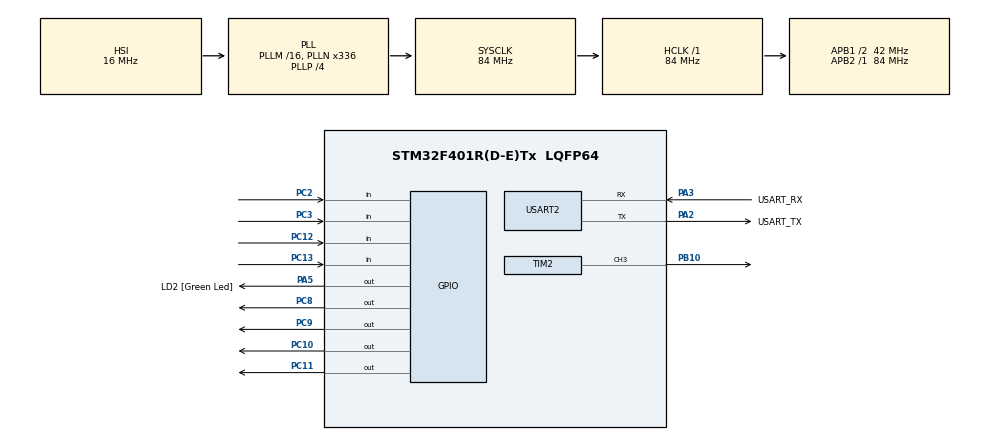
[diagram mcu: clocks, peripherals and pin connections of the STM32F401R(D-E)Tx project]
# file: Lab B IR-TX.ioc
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Mcu.Family=STM32F4
Mcu.Name=STM32F401R(D-E)Tx
Mcu.Package=LQFP64
NVIC.PriorityGroup=NVIC_PRIORITYGROUP_0
NVIC.TIM1_UP_TIM10_IRQn=true\:0\:0\:false\:false\:true\:true\:true\:true
NVIC.TIM2_IRQn=true\:0\:0\:false\:false\:true\:true\:true\:true
NVIC.TIM3_IRQn=true\:0\:0\:false\:false\:true\:true\:true\:true
PA13.GPIO_Label=TMS
PA13.Mode=Serial_Wire
PA13.Signal=SYS_JTMS-SWDIO
PA14.GPIO_Label=TCK
PA14.Mode=Serial_Wire
PA14.Signal=SYS_JTCK-SWCLK
PA2.GPIO_Label=USART_TX
PA2.GPIO_Mode=GPIO_MODE_AF_PP
PA2.GPIO_PuPd=GPIO_NOPULL
PA2.GPIO_Speed=GPIO_SPEED_FREQ_LOW
PA2.Mode=Asynchronous
PA2.Signal=USART2_TX
PA3.GPIO_Label=USART_RX
PA3.GPIO_Mode=GPIO_MODE_AF_PP
PA3.GPIO_PuPd=GPIO_NOPULL
PA3.GPIO_Speed=GPIO_SPEED_FREQ_LOW
PA3.Mode=Asynchronous
PA3.Signal=USART2_RX
PA5.GPIO_Label=LD2 [Green Led]
PA5.GPIO_Mode=GPIO_MODE_OUTPUT_PP
PA5.GPIO_PuPd=GPIO_NOPULL
PA5.GPIO_Speed=GPIO_SPEED_FREQ_LOW
PA5.Signal=GPIO_Output
PB10.Signal=S_TIM2_CH3
PB3.GPIO_Label=SWO
PB3.Signal=SYS_JTDO-SWO
PC10.Signal=GPIO_Output
PC11.Signal=GPIO_Output
PC12.Signal=GPIO_Input
PC13-ANTI_TAMP.Signal=GPIO_Input
PC14-OSC32_IN.Mode=LSE-External-Oscillator
PC14-OSC32_IN.Signal=RCC_OSC32_IN
PC15-OSC32_OUT.Mode=LSE-External-Oscillator
PC15-OSC32_OUT.Signal=RCC_OSC32_OUT
PC2.Signal=GPIO_Input
PC3.Signal=GPIO_Input
PC8.Signal=GPIO_Output
PC9.Signal=GPIO_Output
PH0\ -\ OSC_IN.Mode=HSE-External-Clock-Source
PH0\ -\ OSC_IN.Signal=RCC_OSC_IN
PH1\ -\ OSC_OUT.Mode=HSE-External-Clock-Source
PH1\ -\ OSC_OUT.Signal=RCC_OSC_OUT
ProjectManager.HeapSize=0x200
ProjectManager.StackSize=0x400
ProjectManager.TargetToolchain=STM32CubeIDE
RCC.48MHZClocksFreq_Value=48000000
RCC.AHBFreq_Value=84000000
RCC.APB1CLKDivider=RCC_HCLK_DIV2
RCC.APB1Freq_Value=42000000
RCC.APB1TimFreq_Value=84000000
RCC.APB2Freq_Value=84000000
RCC.APB2TimFreq_Value=84000000
RCC.CortexFreq_Value=84000000
RCC.HCLKFreq_Value=84000000
RCC.HSE_VALUE=8000000
RCC.HSI_VALUE=16000000
RCC.PLLN=336
RCC.PLLP=RCC_PLLP_DIV4
RCC.PLLQ=7
RCC.SYSCLKFreq_VALUE=84000000
RCC.SYSCLKSource=RCC_SYSCLKSOURCE_PLLCLK
RCC.VCOOutputFreq_Value=336000000
SH.S_TIM2_CH3.0=TIM2_CH3,PWM Generation3 CH3
TIM1.Period=499
TIM1.Prescaler=69
TIM2.Channel-PWM\ Generation3\ CH3=TIM_CHANNEL_3
TIM2.Period=60
TIM2.Prescaler=35
TIM2.Pulse-PWM\ Generation3\ CH3=30
TIM3.Period=100-1
TIM3.Prescaler=8400-1
USART2.VirtualMode=VM_ASYNC
VP_TIM1_VS_ClockSourceINT.Mode=Internal
VP_TIM2_VS_ClockSourceINT.Mode=Internal
VP_TIM3_VS_ClockSourceINT.Mode=Internal
board=NUCLEO-F401RE

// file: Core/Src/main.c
/* USER CODE BEGIN Header */
/**
 ******************************************************************************
 * @file           : main.c
 * @brief          : Main program body
 ******************************************************************************
 * @attention
 *
 * Copyright (c) 2023 STMicroelectronics.
 * All rights reserved.
 *
 * This software is licensed under terms that can be found in the LICENSE file
 * in the root directory of this software component.
 * If no LICENSE file comes with this software, it is provided AS-IS.
 *
 ******************************************************************************
 */
/* USER CODE END Header */
#include "main.h"

/* USER CODE BEGIN Includes */
#include <stdio.h>
/* USER CODE END Includes */

/* USER CODE BEGIN PD */
#define QUEUE_SIZE 100
#define N_ROWS_K 4
#define N_COLS_K 4
/* USER CODE END PD */

TIM_HandleTypeDef htim1;
TIM_HandleTypeDef htim2;
TIM_HandleTypeDef htim3;

UART_HandleTypeDef huart2;

/* USER CODE BEGIN PV */
struct Queue {
	uint8_t items[QUEUE_SIZE];
	int front;
	int rear;
	int size;
} tx_queue;
int transmitting = 0;

const uint16_t k_input[] = { GPIO_PIN_3, GPIO_PIN_2, GPIO_PIN_13, GPIO_PIN_12 };
const uint16_t k_output[] = { GPIO_PIN_8, GPIO_PIN_9, GPIO_PIN_10, GPIO_PIN_11 };
/* USER CODE END PV */

void SystemClock_Config(void);
static void MX_GPIO_Init(void);
static void MX_USART2_UART_Init(void);
static void MX_TIM2_Init(void);
static void MX_TIM3_Init(void);
static void MX_TIM1_Init(void);
/* USER CODE BEGIN PFP */
void init_queue(struct Queue* q);
int isFull(struct Queue *queue);
int isEmpty(struct Queue *queue);
int enqueue(struct Queue *queue, uint8_t item);
uint8_t dequeue(struct Queue *queue);
uint8_t* front(struct Queue *queue);
void transmit(uint8_t value);

/* USER CODE END PFP */

/* USER CODE BEGIN 0 */

void HAL_TIM_PeriodElapsedCallback(TIM_HandleTypeDef *htim) {
	if (htim == &htim1) {
		static int8_t bit_counter = -1; //bit that has to be transmitted
		static int8_t parity = 0; //parity bit memorization
		static int8_t tim_on = 0; //status of the timer
		static uint8_t data = 0; //byte to be sent
		uint8_t bit_tx; //bit to transmit

		if (bit_counter == -1) { //start bit
			data = dequeue(&tx_queue); //get the full byte to be sent
			bit_tx = 0; //transmit 0
		} else if (bit_counter < 7) { //7 bit of data transmission
			bit_tx = data & 0b00000001; //extract first bit
			data = data >> 1; //shift data for next transmission
			if (bit_tx)
				parity = !parity; //calculate parity (if a 1 is found switch parity)
		} else if (bit_counter == 7) { //partity bit transmission
			bit_tx = parity;
		} else if (bit_counter == 8) { //last transmission
			bit_tx = 1;
		}

		//transmission section
		if (bit_tx && tim_on) { //to transmit 1 turn off PWM
			HAL_TIM_PWM_Stop(&htim2, TIM_CHANNEL_3);
			tim_on = 0;

		} else if (!bit_tx && !tim_on) { //to transmit 0 turn on PWM
			HAL_TIM_PWM_Start(&htim2, TIM_CHANNEL_3);
			tim_on = 1;
		}

		if (bit_counter >= 8) { //reset variables for next transmission
			bit_counter = -1;
			parity = 0;
			if (isEmpty(&tx_queue)){ //if there is nothing more to transmit stop timer
				HAL_TIM_Base_Stop_IT(&htim1);
				transmitting = 0;
			}
			return;
		}

		bit_counter++;

	}else if (htim == &htim3) {
		static const char lett[16] = "CDEF89AB45670123"; //initialized letters array
		static char state[16] = { 0 }; //initialized states of buttons
		static int col = 0; //index for column

		for (int i = 0; i < N_ROWS_K; i++) {
			int on = !HAL_GPIO_ReadPin(GPIOC, k_input[i]);

			if (on && state[col + i * N_ROWS_K] == 0) {

				//enqueue letter for transmission
				transmit(lett[col + i * N_ROWS_K]);
				state[col + i * N_ROWS_K] = 1;

			} else if (!on && state[col + i * N_ROWS_K] == 1) {
				state[col + i * N_ROWS_K] = 0;
			}
		}

		HAL_GPIO_WritePin(GPIOC, k_output[col], 0);
		col = (col+1) % N_COLS_K;
		HAL_GPIO_WritePin(GPIOC, k_output[col], 1); //

	}
}

//to transmit data simply set current data value and start the timer

/* USER CODE END 0 */

int main(void)
{
  /* USER CODE BEGIN 1 */
	init_queue(&tx_queue);
  /* USER CODE END 1 */

  /* MCU Configuration--------------------------------------------------------*/

  /* Reset of all peripherals, Initializes the Flash interface and the Systick. */
  HAL_Init();

  /* Configure the system clock */
  SystemClock_Config();

  /* Initialize all configured peripherals */
  MX_GPIO_Init();
  MX_USART2_UART_Init();
  MX_TIM2_Init();
  MX_TIM3_Init();
  MX_TIM1_Init();
  /* USER CODE BEGIN 2 */
  HAL_TIM_Base_Start_IT(&htim3);

	//transmit('0');
	//transmit('1');
	//transmit('2');
	//transmit('3');
	//transmit('4');
	//transmit('5');
	//transmit('6');
	//transmit('7');
	//transmit('8');
	//transmit('9');
	//transmit('X');
	//transmit('A');
	//transmit('B');
	//transmit('C');
	//transmit('D');
	//transmit('E');
	//transmit('F');
  /* USER CODE END 2 */

  /* Infinite loop */
	while (1) {

	}
}

void SystemClock_Config(void)
{
  RCC_OscInitTypeDef RCC_OscInitStruct = {0};
  RCC_ClkInitTypeDef RCC_ClkInitStruct = {0};

  /** Configure the main internal regulator output voltage
  */
  __HAL_RCC_PWR_CLK_ENABLE();
  __HAL_PWR_VOLTAGESCALING_CONFIG(PWR_REGULATOR_VOLTAGE_SCALE2);

  /** Initializes the RCC Oscillators according to the specified parameters
  * in the RCC_OscInitTypeDef structure.
  */
  RCC_OscInitStruct.OscillatorType = RCC_OSCILLATORTYPE_HSI;
  RCC_OscInitStruct.HSIState = RCC_HSI_ON;
  RCC_OscInitStruct.HSICalibrationValue = RCC_HSICALIBRATION_DEFAULT;
  RCC_OscInitStruct.PLL.PLLState = RCC_PLL_ON;
  RCC_OscInitStruct.PLL.PLLSource = RCC_PLLSOURCE_HSI;
  RCC_OscInitStruct.PLL.PLLM = 16;
  RCC_OscInitStruct.PLL.PLLN = 336;
  RCC_OscInitStruct.PLL.PLLP = RCC_PLLP_DIV4;
  RCC_OscInitStruct.PLL.PLLQ = 7;
  if (HAL_RCC_OscConfig(&RCC_OscInitStruct) != HAL_OK)
  {
    Error_Handler();
  }

  /** Initializes the CPU, AHB and APB buses clocks
  */
  RCC_ClkInitStruct.ClockType = RCC_CLOCKTYPE_HCLK|RCC_CLOCKTYPE_SYSCLK
                              |RCC_CLOCKTYPE_PCLK1|RCC_CLOCKTYPE_PCLK2;
  RCC_ClkInitStruct.SYSCLKSource = RCC_SYSCLKSOURCE_PLLCLK;
  RCC_ClkInitStruct.AHBCLKDivider = RCC_SYSCLK_DIV1;
  RCC_ClkInitStruct.APB1CLKDivider = RCC_HCLK_DIV2;
  RCC_ClkInitStruct.APB2CLKDivider = RCC_HCLK_DIV1;

  if (HAL_RCC_ClockConfig(&RCC_ClkInitStruct, FLASH_LATENCY_2) != HAL_OK)
  {
    Error_Handler();
  }
}

static void MX_TIM1_Init(void)
{

  TIM_ClockConfigTypeDef sClockSourceConfig = {0};
  TIM_MasterConfigTypeDef sMasterConfig = {0};

  htim1.Instance = TIM1;
  htim1.Init.Prescaler = 69;
  htim1.Init.CounterMode = TIM_COUNTERMODE_UP;
  htim1.Init.Period = 499;
  htim1.Init.ClockDivision = TIM_CLOCKDIVISION_DIV1;
  htim1.Init.RepetitionCounter = 0;
  htim1.Init.AutoReloadPreload = TIM_AUTORELOAD_PRELOAD_DISABLE;
  if (HAL_TIM_Base_Init(&htim1) != HAL_OK)
  {
    Error_Handler();
  }
  sClockSourceConfig.ClockSource = TIM_CLOCKSOURCE_INTERNAL;
  if (HAL_TIM_ConfigClockSource(&htim1, &sClockSourceConfig) != HAL_OK)
  {
    Error_Handler();
  }
  sMasterConfig.MasterOutputTrigger = TIM_TRGO_RESET;
  sMasterConfig.MasterSlaveMode = TIM_MASTERSLAVEMODE_DISABLE;
  if (HAL_TIMEx_MasterConfigSynchronization(&htim1, &sMasterConfig) != HAL_OK)
  {
    Error_Handler();
  }

}

static void MX_TIM2_Init(void)
{

  TIM_ClockConfigTypeDef sClockSourceConfig = {0};
  TIM_MasterConfigTypeDef sMasterConfig = {0};
  TIM_OC_InitTypeDef sConfigOC = {0};

  htim2.Instance = TIM2;
  htim2.Init.Prescaler = 35;
  htim2.Init.CounterMode = TIM_COUNTERMODE_UP;
  htim2.Init.Period = 60;
  htim2.Init.ClockDivision = TIM_CLOCKDIVISION_DIV1;
  htim2.Init.AutoReloadPreload = TIM_AUTORELOAD_PRELOAD_DISABLE;
  if (HAL_TIM_Base_Init(&htim2) != HAL_OK)
  {
    Error_Handler();
  }
  sClockSourceConfig.ClockSource = TIM_CLOCKSOURCE_INTERNAL;
  if (HAL_TIM_ConfigClockSource(&htim2, &sClockSourceConfig) != HAL_OK)
  {
    Error_Handler();
  }
  if (HAL_TIM_PWM_Init(&htim2) != HAL_OK)
  {
    Error_Handler();
  }
  sMasterConfig.MasterOutputTrigger = TIM_TRGO_RESET;
  sMasterConfig.MasterSlaveMode = TIM_MASTERSLAVEMODE_DISABLE;
  if (HAL_TIMEx_MasterConfigSynchronization(&htim2, &sMasterConfig) != HAL_OK)
  {
    Error_Handler();
  }
  sConfigOC.OCMode = TIM_OCMODE_PWM1;
  sConfigOC.Pulse = 30;
  sConfigOC.OCPolarity = TIM_OCPOLARITY_HIGH;
  sConfigOC.OCFastMode = TIM_OCFAST_DISABLE;
  if (HAL_TIM_PWM_ConfigChannel(&htim2, &sConfigOC, TIM_CHANNEL_3) != HAL_OK)
  {
    Error_Handler();
  }
  HAL_TIM_MspPostInit(&htim2);

}

static void MX_TIM3_Init(void)
{

  TIM_ClockConfigTypeDef sClockSourceConfig = {0};
  TIM_MasterConfigTypeDef sMasterConfig = {0};

  htim3.Instance = TIM3;
  htim3.Init.Prescaler = 8400-1;
  htim3.Init.CounterMode = TIM_COUNTERMODE_UP;
  htim3.Init.Period = 100-1;
  htim3.Init.ClockDivision = TIM_CLOCKDIVISION_DIV1;
  htim3.Init.AutoReloadPreload = TIM_AUTORELOAD_PRELOAD_DISABLE;
  if (HAL_TIM_Base_Init(&htim3) != HAL_OK)
  {
    Error_Handler();
  }
  sClockSourceConfig.ClockSource = TIM_CLOCKSOURCE_INTERNAL;
  if (HAL_TIM_ConfigClockSource(&htim3, &sClockSourceConfig) != HAL_OK)
  {
    Error_Handler();
  }
  sMasterConfig.MasterOutputTrigger = TIM_TRGO_RESET;
  sMasterConfig.MasterSlaveMode = TIM_MASTERSLAVEMODE_DISABLE;
  if (HAL_TIMEx_MasterConfigSynchronization(&htim3, &sMasterConfig) != HAL_OK)
  {
    Error_Handler();
  }

}

static void MX_USART2_UART_Init(void)
{

  huart2.Instance = USART2;
  huart2.Init.BaudRate = 115200;
  huart2.Init.WordLength = UART_WORDLENGTH_8B;
  huart2.Init.StopBits = UART_STOPBITS_1;
  huart2.Init.Parity = UART_PARITY_NONE;
  huart2.Init.Mode = UART_MODE_TX_RX;
  huart2.Init.HwFlowCtl = UART_HWCONTROL_NONE;
  huart2.Init.OverSampling = UART_OVERSAMPLING_16;
  if (HAL_UART_Init(&huart2) != HAL_OK)
  {
    Error_Handler();
  }

}

static void MX_GPIO_Init(void)
{
  GPIO_InitTypeDef GPIO_InitStruct = {0};

  /* GPIO Ports Clock Enable */
  __HAL_RCC_GPIOC_CLK_ENABLE();
  __HAL_RCC_GPIOH_CLK_ENABLE();
  __HAL_RCC_GPIOA_CLK_ENABLE();
  __HAL_RCC_GPIOB_CLK_ENABLE();

  /*Configure GPIO pin Output Level */
  HAL_GPIO_WritePin(LD2_GPIO_Port, LD2_Pin, GPIO_PIN_RESET);

  /*Configure GPIO pin Output Level */
  HAL_GPIO_WritePin(GPIOC, GPIO_PIN_8|GPIO_PIN_9|GPIO_PIN_10|GPIO_PIN_11, GPIO_PIN_RESET);

  /*Configure GPIO pins : PC13 PC2 PC3 PC12 */
  GPIO_InitStruct.Pin = GPIO_PIN_13|GPIO_PIN_2|GPIO_PIN_3|GPIO_PIN_12;
  GPIO_InitStruct.Mode = GPIO_MODE_INPUT;
  GPIO_InitStruct.Pull = GPIO_NOPULL;
  HAL_GPIO_Init(GPIOC, &GPIO_InitStruct);

  /*Configure GPIO pin : LD2_Pin */
  GPIO_InitStruct.Pin = LD2_Pin;
  GPIO_InitStruct.Mode = GPIO_MODE_OUTPUT_PP;
  GPIO_InitStruct.Pull = GPIO_NOPULL;
  GPIO_InitStruct.Speed = GPIO_SPEED_FREQ_LOW;
  HAL_GPIO_Init(LD2_GPIO_Port, &GPIO_InitStruct);

  /*Configure GPIO pins : PC8 PC9 PC10 PC11 */
  GPIO_InitStruct.Pin = GPIO_PIN_8|GPIO_PIN_9|GPIO_PIN_10|GPIO_PIN_11;
  GPIO_InitStruct.Mode = GPIO_MODE_OUTPUT_PP;
  GPIO_InitStruct.Pull = GPIO_NOPULL;
  GPIO_InitStruct.Speed = GPIO_SPEED_FREQ_LOW;
  HAL_GPIO_Init(GPIOC, &GPIO_InitStruct);

}

/* USER CODE BEGIN 4 */
void init_queue(struct Queue* q){
	q->front = 0;
	q->rear = QUEUE_SIZE - 1;
	q->size = 0;
}
int isFull(struct Queue *queue) {
	return queue->size == QUEUE_SIZE;
}

int isEmpty(struct Queue *queue) {
	return (queue->size == 0);
}

int enqueue(struct Queue *queue, uint8_t item) {
	if (isFull(queue))
		return 0;
	queue->rear = (queue->rear + 1) % QUEUE_SIZE;
	queue->items[queue->rear] = item;
	queue->size = queue->size + 1;
	return 1;
}

uint8_t dequeue(struct Queue *queue) {
	if (isEmpty(queue))
		Error_Handler(); //if dequeue with empty queue return error!

	uint8_t item = queue->items[queue->front];
	queue->front = (queue->front + 1) % QUEUE_SIZE;
	queue->size = queue->size - 1;
	return item;
}

uint8_t* front(struct Queue* queue)
{
    if (isEmpty(queue)) Error_Handler();
    return &(queue->items[queue->front]);
}

void transmit(uint8_t value) {
	enqueue(&tx_queue, value);
	if(!transmitting){
		HAL_TIM_Base_Start_IT(&htim1);
		transmitting = 1;
	}
}
/* USER CODE END 4 */

void Error_Handler(void)
{
	__disable_irq();
	while (1) {
	}
}
